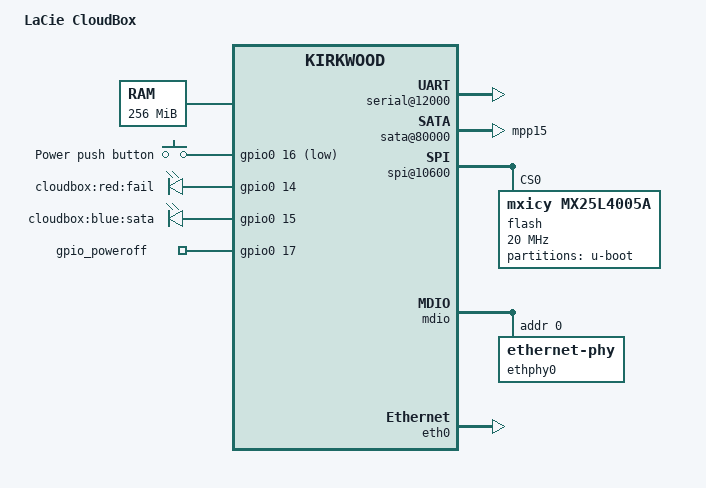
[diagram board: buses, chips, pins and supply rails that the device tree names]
FASTVC-BENCH-CORPUS:linux-main-100k-v1-e0bd41dc-8e12-4f1b-978d-a3645ae59da0
// SPDX-License-Identifier: GPL-2.0
/dts-v1/;

#include "kirkwood.dtsi"
#include "kirkwood-6281.dtsi"

/ {
	model = "LaCie CloudBox";
	compatible = "lacie,cloudbox", "marvell,kirkwood-88f6702", "marvell,kirkwood";

	memory {
		device_type = "memory";
		reg = <0x00000000 0x10000000>;
	};
/* bench 13286.0.0 9461dbaa6947 */
/* bench 13286.0.1 d9de4e5b105c */
/* bench 13286.0.2 53b883ddae1e */
/* bench 13286.0.3 fe0e86e104e0 */
/* bench 13286.0.4 bcb8aa1101fa */
/* bench 13286.0.5 e39fbf5f6245 */

	chosen {
		bootargs = "console=ttyS0,115200n8";
		stdout-path = &uart0;
	};

	ocp@f1000000 {
		pinctrl: pin-controller@10000 {
			pmx_cloudbox_sata0: pmx-cloudbox-sata0 {
				marvell,pins = "mpp15";
				marvell,function = "sata0";
			};
		};

		serial@12000 {
			status = "okay";
		};

		sata@80000 {
			pinctrl-0 = <&pmx_cloudbox_sata0>;
			pinctrl-names = "default";
			status = "okay";
			nr-ports = <1>;
		};

		spi@10600 {
			status = "okay";

			flash@0 {
				#address-cells = <1>;
				#size-cells = <1>;
				compatible = "mxicy,mx25l4005a", "jedec,spi-nor";
				reg = <0>;
				spi-max-frequency = <20000000>;
				mode = <0>;

				partition@0 {
					reg = <0x0 0x80000>;
					label = "u-boot";
				};
			};
		};
	};

	gpio_keys {
		compatible = "gpio-keys";
		#address-cells = <1>;
		#size-cells = <0>;

		power {
			label = "Power push button";
			linux,code = <KEY_POWER>;
			gpios = <&gpio0 16 GPIO_ACTIVE_LOW>;
		};
	};

	gpio-leds {
		compatible = "gpio-leds";

		red-fail {
			label = "cloudbox:red:fail";
			gpios = <&gpio0 14 GPIO_ACTIVE_HIGH>;
		};
		blue-sata {
			label = "cloudbox:blue:sata";
			gpios = <&gpio0 15 GPIO_ACTIVE_HIGH>;
		};
	};

	gpio_poweroff {
		compatible = "gpio-poweroff";
		gpios = <&gpio0 17 GPIO_ACTIVE_HIGH>;
	};
};

&mdio {
	status = "okay";

	ethphy0: ethernet-phy@0 {
		reg = <0>;
	};
};

&eth0 {
	status = "okay";
	ethernet0-port@0 {
		phy-handle = <&ethphy0>;
	};
};
